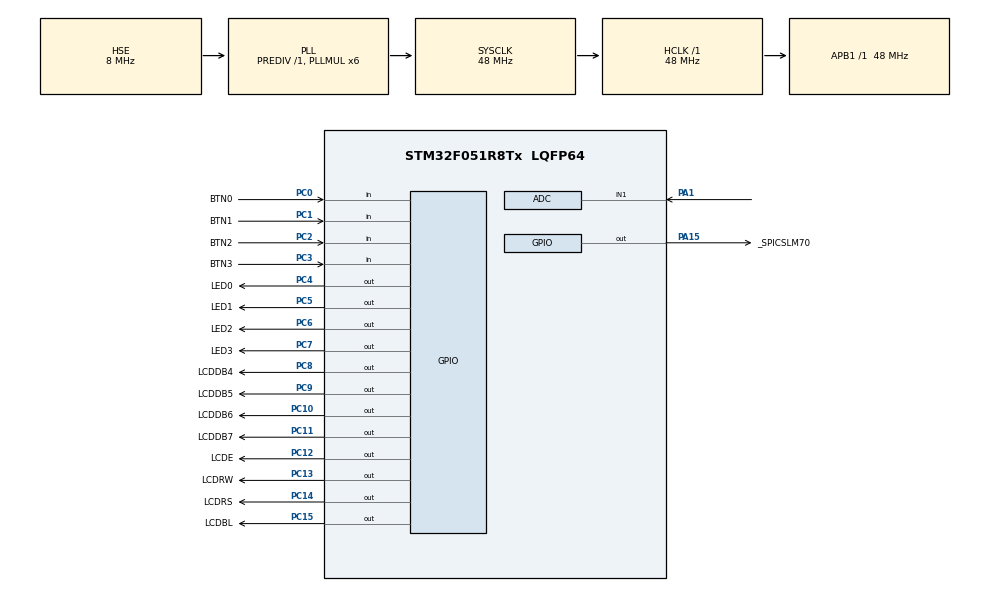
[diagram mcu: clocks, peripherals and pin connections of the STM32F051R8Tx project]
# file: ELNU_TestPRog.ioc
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Mcu.Family=STM32F0
Mcu.Name=STM32F051R8Tx
Mcu.Package=LQFP64
NVIC.TIM14_IRQn=true\:0\:0\:false\:false\:true\:true\:true
NVIC.TIM6_DAC_IRQn=true\:0\:0\:false\:false\:true\:true\:true
PA1.Mode=IN1
PA1.Signal=ADC_IN1
PA13.Mode=Serial_Wire
PA13.Signal=SYS_SWDIO
PA14.Mode=Serial_Wire
PA14.Signal=SYS_SWCLK
PA15.GPIO_Label=_SPICSLM70
PA15.PinState=GPIO_PIN_SET
PA15.Signal=GPIO_Output
PA5.GPIO_Label=SPISCK
PA5.Signal=SPI1_SCK
PA6.GPIO_Label=SPIMISO
PA6.Signal=SPI1_MISO
PC0.GPIO_Label=BTN0
PC0.Signal=GPIO_Input
PC1.GPIO_Label=BTN1
PC1.Signal=GPIO_Input
PC10.GPIO_Label=LCDDB6
PC10.Signal=GPIO_Output
PC11.GPIO_Label=LCDDB7
PC11.Signal=GPIO_Output
PC12.GPIO_Label=LCDE
PC12.Signal=GPIO_Output
PC13.GPIO_Label=LCDRW
PC13.Signal=GPIO_Output
PC14-OSC32_IN.GPIO_Label=LCDRS
PC14-OSC32_IN.Signal=GPIO_Output
PC15-OSC32_OUT.GPIO_Label=LCDBL
PC15-OSC32_OUT.Signal=GPIO_Output
PC2.GPIO_Label=BTN2
PC2.Signal=GPIO_Input
PC3.GPIO_Label=BTN3
PC3.Signal=GPIO_Input
PC4.GPIO_Label=LED0
PC4.PinState=GPIO_PIN_SET
PC4.Signal=GPIO_Output
PC5.GPIO_Label=LED1
PC5.PinState=GPIO_PIN_SET
PC5.Signal=GPIO_Output
PC6.GPIO_Label=LED2
PC6.PinState=GPIO_PIN_SET
PC6.Signal=GPIO_Output
PC7.GPIO_Label=LED3
PC7.PinState=GPIO_PIN_SET
PC7.Signal=GPIO_Output
PC8.GPIO_Label=LCDDB4
PC8.Signal=GPIO_Output
PC9.GPIO_Label=LCDDB5
PC9.Signal=GPIO_Output
PF0-OSC_IN.GPIO_Label=OSCIN
PF0-OSC_IN.Mode=HSE-External-Oscillator
PF0-OSC_IN.Signal=RCC_OSC_IN
PF1-OSC_OUT.GPIO_Label=OSCOUT
PF1-OSC_OUT.Mode=HSE-External-Oscillator
PF1-OSC_OUT.Signal=RCC_OSC_OUT
PF6.Signal=I2C2_SCL
PF7.Signal=I2C2_SDA
ProjectManager.HeapSize=0x200
ProjectManager.StackSize=0x400
ProjectManager.TargetToolchain=MDK-ARM V5
RCC.AHBFreq_Value=48000000
RCC.APB1Freq_Value=48000000
RCC.APB1TimFreq_Value=48000000
RCC.EnbaleCSS=true
RCC.HCLKFreq_Value=48000000
RCC.PLLMUL=RCC_PLL_MUL6
RCC.PLLSourceVirtual=RCC_PLLSOURCE_HSE
RCC.SYSCLKFreq_VALUE=48000000
RCC.SYSCLKSource=RCC_SYSCLKSOURCE_PLLCLK
TIM14.AutoReloadPreload=TIM_AUTORELOAD_PRELOAD_ENABLE
TIM14.Period=1000
TIM14.Prescaler=47
TIM6.AutoReloadPreload=TIM_AUTORELOAD_PRELOAD_ENABLE
TIM6.Period=2000
TIM6.Prescaler=4799
VP_TIM14_VS_ClockSourceINT.Mode=Enable_Timer
VP_TIM6_VS_ClockSourceINT.Mode=Enable_Timer
board=test01_blink

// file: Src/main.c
/* USER CODE BEGIN Header */
/**
  ******************************************************************************
  * @file           : main.c
  * @brief          : Main program body
  ******************************************************************************
  * @attention
  *
  * <h2><center>&copy; Copyright (c) 2021 STMicroelectronics.
  * All rights reserved.</center></h2>
  *
  * This software component is licensed by ST under BSD 3-Clause license,
  * the "License"; You may not use this file except in compliance with the
  * License. You may obtain a copy of the License at:
  *                        opensource.org/licenses/BSD-3-Clause
  *
  ******************************************************************************
  */
/* USER CODE END Header */
#include "main.h"
#include "adc.h"
#include "tim.h"
#include "gpio.h"

/* USER CODE BEGIN Includes */
#include <stdint.h>

#include "fonctionsTestELNU.h"
#include "stm32DriverLcd.h"
#include "stm32f0xx_it.h"
/* USER CODE END Includes */

/* USER CODE BEGIN PV */
 enum etat etatActuel = STATE_INIT;
 uint8_t tout_les_second = 0 ;
 uint8_t tout_les_5_second = 0;
 uint8_t suite_execution = 0 ;

/* USER CODE END PV */

void SystemClock_Config(void);

int main(void)
{
  /* USER CODE BEGIN 1 */
	//-- déclaration de variable --//
	uint8_t position_led ;
	uint8_t i ;
	uint16_t valeurAD;
	uint8_t choix_cano = 0 ;
  /* USER CODE END 1 */

  /* MCU Configuration--------------------------------------------------------*/

  /* Reset of all peripherals, Initializes the Flash interface and the Systick. */
  HAL_Init();

  /* Configure the system clock */
  SystemClock_Config();

  /* Initialize all configured peripherals */
  MX_GPIO_Init();
  MX_TIM6_Init();
  MX_TIM14_Init();
  MX_ADC_Init();
  /* USER CODE BEGIN 2 */
	//-- initialisation LCD avec message utilisateur --//
	lcd_init();
	lcd_bl_on();
  lcd_gotoxy(1,1);
	printf_lcd("TEST ELNU 23");
	lcd_gotoxy(1,2);
	printf_lcd("SOLUS XXX");

	//-- activation du timer 6 et 14 avec interruption --//
 	HAL_TIM_Base_Start_IT(&htim6); // Start du timer 6
	HAL_TIM_Base_Start(&htim14);

	//-- calibration pour l'ADC --//
	HAL_ADCEx_Calibration_Start(&hadc); // Calibration de ADC1

  /* USER CODE END 2 */

  /* Infinite loop */
  /* USER CODE BEGIN WHILE */
  while (1)
  {
		//-- Machine d'état --//
		switch(etatActuel)
		{
			//-- Initialisation --//
			case STATE_INIT:
				FctChenillard (position_led);
				if (position_led > 3)
				{
					FctAllumerLeds();
					i ++ ;
					if (i >= 5 )
					{
						FctEteindreLeds();
						i = 0 ;
						suite_execution = 1 ;
					}
				}else
				{
					position_led ++;
				}

				etatActuel = 	STATE_WAIT;

				//-- appel fonction chenillard --//
				//-- allumer les leds pendant 5s --//

				//-- eteindre les leds --//

				//-- lancement du timer14 avec interruption --//

				//-- mise à jour de la machine d'état --//
					break;

			//-- Execution --//
				case STATE_EXEC:

				//-- lecture de l'ADC => canal 1 --//
				valeurAD = FctLectureADC (choix_cano);
				//aidééé moii
				//-- controle des seuils --//

				//-- test si touches sont activée actif à 1 (actif toutes les 100ms)--//

				//-- action selon l'état des touches --//

					//-- appel de la fonction CreationDentScieGauche --//

					//-- appel de la fonction CreationDentSciedroite --//

					//-- appel de la fonction CreationTriangle --//

					//-- mise à du tableau à zéro --//

				break;

			//-- Attente --//
			case STATE_WAIT:

					//-- ne fait rien
			break;
		}
    /* USER CODE END WHILE */

	}
}
void SystemClock_Config(void)
{
  RCC_OscInitTypeDef RCC_OscInitStruct = {0};
  RCC_ClkInitTypeDef RCC_ClkInitStruct = {0};

  /** Initializes the RCC Oscillators according to the specified parameters
  * in the RCC_OscInitTypeDef structure.
  */
  RCC_OscInitStruct.OscillatorType = RCC_OSCILLATORTYPE_HSI14|RCC_OSCILLATORTYPE_HSE;
  RCC_OscInitStruct.HSEState = RCC_HSE_ON;
  RCC_OscInitStruct.HSI14State = RCC_HSI14_ON;
  RCC_OscInitStruct.HSI14CalibrationValue = 16;
  RCC_OscInitStruct.PLL.PLLState = RCC_PLL_ON;
  RCC_OscInitStruct.PLL.PLLSource = RCC_PLLSOURCE_HSE;
  RCC_OscInitStruct.PLL.PLLMUL = RCC_PLL_MUL6;
  RCC_OscInitStruct.PLL.PREDIV = RCC_PREDIV_DIV1;
  if (HAL_RCC_OscConfig(&RCC_OscInitStruct) != HAL_OK)
  {
    Error_Handler();
  }
  /** Initializes the CPU, AHB and APB buses clocks
  */
  RCC_ClkInitStruct.ClockType = RCC_CLOCKTYPE_HCLK|RCC_CLOCKTYPE_SYSCLK
                              |RCC_CLOCKTYPE_PCLK1;
  RCC_ClkInitStruct.SYSCLKSource = RCC_SYSCLKSOURCE_PLLCLK;
  RCC_ClkInitStruct.AHBCLKDivider = RCC_SYSCLK_DIV1;
  RCC_ClkInitStruct.APB1CLKDivider = RCC_HCLK_DIV1;

  if (HAL_RCC_ClockConfig(&RCC_ClkInitStruct, FLASH_LATENCY_1) != HAL_OK)
  {
    Error_Handler();
  }
  /** Enables the Clock Security System
  */
  HAL_RCC_EnableCSS();
}

/* USER CODE BEGIN 4 */
void HAL_TIM_PeriodElapsedCallback(TIM_HandleTypeDef *htim6)		// Fonction d'interruption
{
	static uint8_t delai_pour_second = 0;
	static uint8_t delai_pour5_second = 0 ;
	if(delai_pour_second >= 5 )
	{
		tout_les_second = 1 ;
		delai_pour_second = 0 ;
		delai_pour_second = 0 ;
		if (suite_execution == 0 )
		{
			etatActuel = STATE_INIT ;
		}
	}
	delai_pour_second ++;

}
void HAL_TIM_PeriodElapsedCallback1(TIM_HandleTypeDef *htim14)		// Fonction d'interruption
{
	static uint8_t delai = 0 ;
	if (delai > 100)
	{
		if (suite_execution == 1 )
		{
			etatActuel = STATE_EXEC ;

		}
		delai = 0 ;
	}
	delai ++;

}
/* USER CODE END 4 */

void Error_Handler(void)
{
  __disable_irq();
  while (1)
  {
  }
}

/************************ (C) COPYRIGHT STMicroelectronics *****END OF FILE****/
